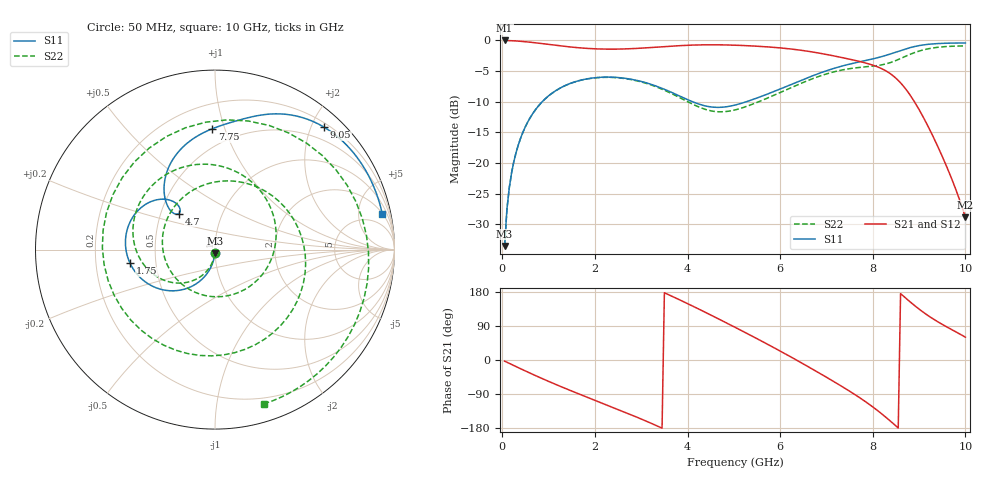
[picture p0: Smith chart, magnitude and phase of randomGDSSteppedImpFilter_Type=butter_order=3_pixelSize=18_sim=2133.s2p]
! freq	dB(S11)	phase(S11)	dB(S12)	phase(S12)
!  dB(S21)	phase(S21)	dB(S22)	phase(S22)
!S-par simulation data
#  GHz  S  DB  R 50
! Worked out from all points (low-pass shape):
!   200 points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, 50 MHz to 10 GHz, reference 50 ohm
!   highest |S21| = -0.01 dB at 50 MHz (marker M1); lowest = -28.8 dB at 10 GHz (marker M2)
!   |S21| within 3 dB of the highest: start of sweep to 7.466 GHz
!   lowest |S11| = -33.5 dB at 50 MHz (marker M3), VSWR 1.04, Z = 49.9 - j2.1 ohm
!   |S11| at or under -10 dB: start of sweep to 861.8 MHz; 4.11 GHz to 5.268 GHz (1.158 GHz wide, 24.7 % of centre)
!   |S22| runs from -33.5 to -0.9 dB; largest |S21 - S12| = 0
!   S11 on the Smith chart (normalised r, x): 50 MHz: 1.00, -0.04; 1.75 GHz: 0.35, -0.07; 4.7 GHz: 0.62, +0.27; 7.75 GHz: 0.37, +0.91; 9.05 GHz: 0.27, +2.21; 10 GHz: 2.09, +9.03
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0.05  -33.53 -92.7  -0.01 -3.0  -0.01 -3.0  -33.54 -93.4
0.2  -21.62 -100.8  -0.05 -11.8  -0.05 -11.8  -21.61 -103.5
0.5  -14.04 -116.2  -0.21 -29.0  -0.21 -29.0  -14.05 -123.0
1.1  -8.46 -144.4  -0.74 -61.7  -0.74 -61.7  -8.47 -160.1
1.75  -6.38 -171.0  -1.26 -94.2  -1.26 -94.2  -6.40 161.5
2.65  -6.17 157.7  -1.39 -138.0  -1.39 -138.0  -6.22 105.7
3.4  -7.66 137.3  -1.06 -177.0  -1.06 -177.0  -7.79 48.9
4  -9.65 129.8  -0.79 148.8  -0.79 148.8  -9.98 -10.9
4.7  -10.91 135.2  -0.72 106.6  -0.72 106.6  -11.64 -101.5
5.05  -10.49 138.3  -0.79 84.8  -0.79 84.8  -11.28 -149.4
5.5  -9.39 138.4  -0.94 56.3  -0.94 56.3  -10.11 152.2
6  -7.92 134.0  -1.22 23.6  -1.22 23.6  -8.50 90.6
6.7  -5.77 121.0  -1.89 -24.2  -1.89 -24.2  -6.24 8.1
7.15  -4.58 109.0  -2.51 -56.3  -2.51 -56.3  -5.14 -43.6
7.45  -3.96 100.2  -2.98 -78.5  -2.98 -78.5  -4.66 -79.2
7.75  -3.43 91.3  -3.50 -102.2  -3.50 -102.2  -4.38 -118.3
8.1  -2.83 81.5  -4.30 -133.1  -4.30 -133.1  -4.10 -172.2
8.35  -2.28 74.3  -5.27 -158.0  -5.27 -158.0  -3.69 142.2
8.7  -1.41 62.4  -7.81 164.5  -7.81 164.5  -2.61 75.4
9.05  -0.78 48.2  -11.95 129.7  -11.95 129.7  -1.63 18.7
9.55  -0.46 28.3  -19.76 90.5  -19.76 90.5  -1.02 -37.8
10  -0.42 12.0  -28.82 60.1  -28.82 60.1  -0.89 -72.4
